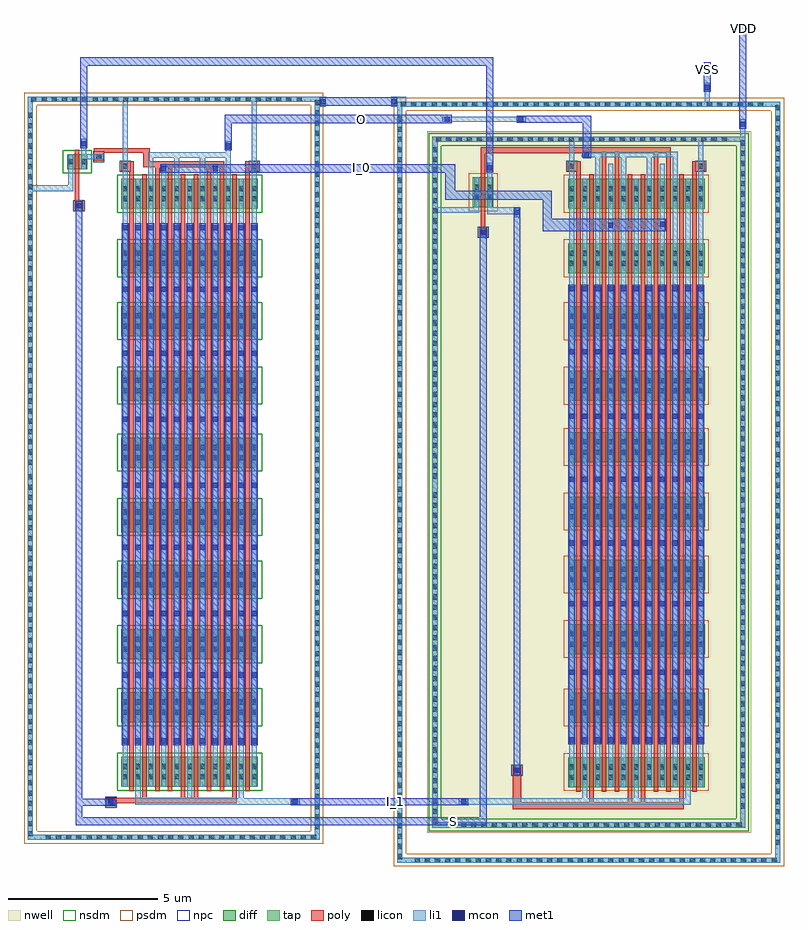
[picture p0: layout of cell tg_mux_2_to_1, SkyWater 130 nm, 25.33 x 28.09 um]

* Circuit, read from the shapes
.subckt tg_mux_2_to_1 I_0 I_1 O S VDD VSS
XM1 n1 S VSS VSS sky130_fd_pr__nfet_01v8 w=0.5 l=0.15
XM2 I_1 VSS VSS VSS sky130_fd_pr__nfet_01v8 w=1 l=0.15 m=20
XM3 O S I_1 VSS sky130_fd_pr__nfet_01v8 w=1 l=0.15 m=40
XM4 I_0 n1 O VSS sky130_fd_pr__nfet_01v8 w=1 l=0.15 m=40
XM5 n1 S VDD VDD sky130_fd_pr__pfet_01v8 w=1 l=0.15
XM6 I_1 VDD VDD VDD sky130_fd_pr__pfet_01v8 w=1 l=0.15 m=20
XM7 O n1 I_1 VDD sky130_fd_pr__pfet_01v8 w=1 l=0.15 m=40
XM8 I_0 S O VDD sky130_fd_pr__pfet_01v8 w=1 l=0.15 m=40
.ends

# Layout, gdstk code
from math import pi, radians
import gdstk
lib = gdstk.Library(unit=1e-6, precision=1e-09)
def R(c, l, rs):  # rectangles x0, y0, x1, y1
    for r in rs: c.add(gdstk.rectangle(r[:2], r[2:], *l))
def A(c, l, x, y, w, h, nx, ny, dx, dy):  # array of equal rectangles
    R(c, l, [(x+i*dx, y+j*dy, x+i*dx+w, y+j*dy+h) for i in range(nx) for j in range(ny)])
nwell = (64, 20)
diff = (65, 20)
tap = (65, 44)
poly = (66, 20)
licon = (66, 44)
li1 = (67, 20)
mcon = (67, 44)
met1 = (68, 20)
nsdm = (93, 44)
psdm = (94, 20)
npc = (95, 20)

nfet_01v8_cdns_774488796 = lib.new_cell('nfet_01v8_CDNS_7744887960911')
R(nfet_01v8_cdns_774488796, diff, [(-0.265,0,0,0.5), (0,0,0.15,0.5), (0.15,0,0.415,0.5)])
R(nfet_01v8_cdns_774488796, poly, [(0,-0.15,0.15,-0.095), (0,-0.095,0.15,0), (0,0,0.15,0.5), (0,0.5,0.15,0.595), (0,0.595,0.15,0.65)])
R(nfet_01v8_cdns_774488796, licon, [(-0.225,0.165,-0.055,0.335), (0.205,0.165,0.375,0.335)])
R(nfet_01v8_cdns_774488796, li1, [(-0.225,0,-0.055,0.5), (0.205,0,0.375,0.5)])
R(nfet_01v8_cdns_774488796, nsdm, [(-0.405,-0.13,0.555,0.63)])

pyl1con_c_cdns_774488796 = lib.new_cell('PYL1CON_C_CDNS_7744887960911')
R(pyl1con_c_cdns_774488796, poly, [(-0.135,-0.165,0.135,0.165)])
R(pyl1con_c_cdns_774488796, licon, [(-0.085,-0.085,0.085,0.085)])
R(pyl1con_c_cdns_774488796, npc, [(-0.185,-0.185,0.185,0.185)])

polyconn_cdns_7744887960 = lib.new_cell('polyConn_CDNS_774488796090')
R(polyconn_cdns_7744887960, poly, [(-0.135,-0.165,0.135,0.165)])
R(polyconn_cdns_7744887960, licon, [(-0.085,-0.085,0.085,0.085)])
R(polyconn_cdns_7744887960, li1, [(-0.085,-0.165,0.085,0.165)])
R(polyconn_cdns_7744887960, mcon, [(-0.085,-0.085,0.085,0.085)])
R(polyconn_cdns_7744887960, met1, [(-0.115,-0.145,0.115,0.145)])
R(polyconn_cdns_7744887960, npc, [(-0.185,-0.185,0.185,0.185)])

l1m1_c_cdns_774488796091 = lib.new_cell('L1M1_C_CDNS_7744887960914')
R(l1m1_c_cdns_774488796091, li1, [(-0.085,-0.165,0.085,0.165)])
R(l1m1_c_cdns_774488796091, mcon, [(-0.085,-0.085,0.085,0.085)])
R(l1m1_c_cdns_774488796091, met1, [(-0.115,-0.145,0.115,0.145)])

pfet_01v8_cdns_774488796 = lib.new_cell('pfet_01v8_CDNS_7744887960913')
R(pfet_01v8_cdns_774488796, nwell, [(-0.445,-0.18,0.595,1.18)])
R(pfet_01v8_cdns_774488796, diff, [(-0.265,0,0,1), (0,0,0.15,1), (0.15,0,0.415,1)])
R(pfet_01v8_cdns_774488796, poly, [(0,-0.15,0.15,-0.095), (0,-0.095,0.15,0), (0,0,0.15,1), (0,1,0.15,1.095), (0,1.095,0.15,1.15)])
R(pfet_01v8_cdns_774488796, licon, [(-0.225,0.245,-0.055,0.415), (0.205,0.245,0.375,0.415), (-0.225,0.585,-0.055,0.755), (0.205,0.585,0.375,0.755)])
R(pfet_01v8_cdns_774488796, li1, [(-0.225,0,-0.055,1), (0.205,0,0.375,1)])
R(pfet_01v8_cdns_774488796, psdm, [(-0.405,-0.13,0.555,1.13)])

c_pfet_01v8_cdns_774488796 = lib.new_cell('pfet_01v8_CDNS_7744887960912')
R(c_pfet_01v8_cdns_774488796, nwell, [(-0.445,-0.18,4.465,1.18)])
A(c_pfet_01v8_cdns_774488796, diff, 0, 0, 0.15, 1, 10, 1, 0.43, 0)
A(c_pfet_01v8_cdns_774488796, diff, 0.15, 0, 0.28, 1, 9, 1, 0.43, 0)
R(c_pfet_01v8_cdns_774488796, diff, [(-0.265,0,0,1), (4.02,0,4.285,1)])
A(c_pfet_01v8_cdns_774488796, poly, 0, -0.15, 0.15, 0.055, 10, 2, 0.43, 1.245)
A(c_pfet_01v8_cdns_774488796, poly, 0, -0.095, 0.15, 0.095, 10, 2, 0.43, 1.095)
A(c_pfet_01v8_cdns_774488796, poly, 0, 0, 0.15, 1, 10, 1, 0.43, 0)
A(c_pfet_01v8_cdns_774488796, licon, -0.225, 0.245, 0.17, 0.17, 11, 2, 0.43, 0.34)
A(c_pfet_01v8_cdns_774488796, li1, -0.225, 0, 0.17, 1, 11, 1, 0.43, 0)
R(c_pfet_01v8_cdns_774488796, psdm, [(-0.405,-0.13,4.425,1.13)])

c_nfet_01v8_cdns_774488796 = lib.new_cell('nfet_01v8_CDNS_7744887960910')
A(c_nfet_01v8_cdns_774488796, diff, 0, 0, 0.15, 1, 10, 1, 0.43, 0)
A(c_nfet_01v8_cdns_774488796, diff, 0.15, 0, 0.28, 1, 9, 1, 0.43, 0)
R(c_nfet_01v8_cdns_774488796, diff, [(-0.265,0,0,1), (4.02,0,4.285,1)])
A(c_nfet_01v8_cdns_774488796, poly, 0, -0.15, 0.15, 0.055, 10, 2, 0.43, 1.245)
A(c_nfet_01v8_cdns_774488796, poly, 0, -0.095, 0.15, 0.095, 10, 2, 0.43, 1.095)
A(c_nfet_01v8_cdns_774488796, poly, 0, 0, 0.15, 1, 10, 1, 0.43, 0)
A(c_nfet_01v8_cdns_774488796, licon, -0.225, 0.245, 0.17, 0.17, 11, 2, 0.43, 0.34)
A(c_nfet_01v8_cdns_774488796, li1, -0.225, 0, 0.17, 1, 11, 1, 0.43, 0)
R(c_nfet_01v8_cdns_774488796, nsdm, [(-0.405,-0.13,4.425,1.13)])

tg_mux_2_to_1 = lib.new_cell('tg_mux_2_to_1')
R(tg_mux_2_to_1, nwell, [(14.36,-24.075,25.145,-0.69)])
A(tg_mux_2_to_1, poly, 4.415, -22.68, 0.15, 20.56, 10, 1, 0.43, 0)
R(tg_mux_2_to_1, poly, [(17.205,-23.285,17.475,-21.825), (17.205,-23.285,22.9,-23.055), (21.03,-23.285,21.18,-2.12), (22.75,-23.285,22.9,-2.12), (21.46,-23.275,21.61,-2.12), (19.74,-23.27,19.89,-2.12), (3.64,-23.08,4.845,-22.9), (4.845,-23.08,8.005,-22.9), (6.135,-23.08,6.285,-22.68), (6.565,-23.08,6.715,-22.68), (7.855,-23.08,8.005,-22.68), (4.845,-22.9,4.995,-22.68), (19.31,-22.695,19.46,-1.69), (20.17,-22.695,20.32,-1.22), (20.6,-22.695,20.75,-1.22), (21.89,-22.695,22.04,-1.22), (22.32,-22.695,22.47,-1.22), (23.18,-22.695,23.33,-1.69), (8.285,-22.68,8.435,-22.66), (16.135,-4.21,16.285,-3.37), (2.605,-3.335,2.755,-2.105), (4.415,-2.12,4.565,-1.69), (5.275,-2.12,5.425,-1.685), (5.705,-2.12,5.855,-1.685), (6.995,-2.12,7.145,-1.685), (7.425,-2.12,7.575,-1.685), (8.285,-2.12,8.435,-1.685), (16.135,-2.075,16.285,-1.22), (4.14,-2.02,4.565,-1.69), (19.035,-2.02,19.46,-1.69), (23.18,-2.02,23.605,-1.69), (8.285,-2.015,8.71,-1.685), (4.88,-1.88,5.095,-1.25), (4.88,-1.88,5.425,-1.685), (5.275,-1.88,7.575,-1.685), (16.135,-1.425,22.47,-1.22), (3.23,-1.405,5.095,-1.25)])
A(tg_mux_2_to_1, licon, 13.925, -25.065, 0.17, 0.17, 36, 1, 0.34, 0)
A(tg_mux_2_to_1, licon, 13.35, -24.945, 0.17, 0.17, 1, 37, 0, 0.34)
A(tg_mux_2_to_1, licon, 25.945, -24.47, 0.17, 0.17, 1, 73, 0, 0.34)
A(tg_mux_2_to_1, licon, 1.63, -24.31, 0.17, 0.17, 27, 1, 0.34, 0)
A(tg_mux_2_to_1, licon, 1.03, -24.19, 0.17, 0.17, 1, 36, 0, 0.34)
A(tg_mux_2_to_1, licon, 10.59, -23.96, 0.17, 0.17, 1, 72, 0, 0.34)
A(tg_mux_2_to_1, licon, 15.135, -23.895, 0.17, 0.17, 29, 1, 0.34, 0)
A(tg_mux_2_to_1, licon, 14.52, -23.775, 0.17, 0.17, 1, 33, 0, 0.34)
A(tg_mux_2_to_1, licon, 24.775, -23.26, 0.17, 0.17, 1, 66, 0, 0.34)
A(tg_mux_2_to_1, licon, 13.35, -12.26, 0.17, 0.17, 1, 36, 0, 0.34)
A(tg_mux_2_to_1, licon, 14.52, -12.26, 0.17, 0.17, 1, 33, 0, 0.34)
A(tg_mux_2_to_1, licon, 1.03, -11.8, 0.17, 0.17, 1, 35, 0, 0.34)
A(tg_mux_2_to_1, licon, 14.64, -1.04, 0.17, 0.17, 29, 1, 0.34, 0)
A(tg_mux_2_to_1, licon, 13.47, 0.13, 0.17, 0.17, 36, 1, 0.34, 0)
A(tg_mux_2_to_1, licon, 1.15, 0.3, 0.17, 0.17, 27, 1, 0.34, 0)
A(tg_mux_2_to_1, li1, 4.62, -23.14, 0.17, 0.61, 3, 1, 1.72, 0)
A(tg_mux_2_to_1, li1, 19.515, -23.14, 0.17, 20.87, 3, 1, 1.72, 0)
A(tg_mux_2_to_1, li1, 19.945, -22.545, 0.17, 21.18, 4, 1, 0.86, 0)
A(tg_mux_2_to_1, li1, 4.62, -22.285, 0.17, 19.77, 10, 1, 0.43, 0)
A(tg_mux_2_to_1, li1, 5.05, -2.27, 0.17, 0.885, 4, 1, 0.86, 0)
R(tg_mux_2_to_1, li1, [(4.62,-23.14,10.105,-22.925), (15.4,-23.14,19.685,-22.925), (19.515,-23.14,23.125,-22.925), (19.085,-22.545,19.255,-0.87), (20.375,-22.545,20.545,-1.76), (22.095,-22.545,22.27,-1.76), (23.385,-22.545,23.555,-0.87), (4.19,-22.285,4.36,0.47), (16.34,-3.45,17.255,-3.22), (14.52,-3.4,16.08,-3.22), (1.03,-2.685,2.55,-2.48), (2.38,-2.685,2.55,-1.455), (5.48,-2.27,5.65,-1.76), (7.2,-2.27,7.37,-1.76), (8.49,-2.27,8.66,0.47), (16.34,-2.22,16.51,-2.065), (2.81,-1.625,3.56,-1.455), (5.05,-1.565,7.8,-1.385), (7.63,-1.565,7.8,-1.01), (19.505,-1.55,20.115,-1.365), (19.945,-1.55,22.695,-1.365), (2.81,-1.455,2.98,-1.265), (24.775,-0.9,24.945,-0.615), (14.855,-0.37,17.305,-0.2), (13.14,0.13,13.64,0.47), (23.595,0.13,23.765,0.61), (10.59,0.14,10.97,0.47), (10.59,0.175,10.76,0.47)])
A(tg_mux_2_to_1, met1, 4.16, -21.155, 0.23, 17.4, 11, 1, 0.43, 0)
A(tg_mux_2_to_1, met1, 19.055, -21.12, 0.23, 15.325, 11, 1, 0.43, 0)
R(tg_mux_2_to_1, met1, [(2.625,-23.81,16.29,-23.555), (16.1,-23.81,16.33,-3.9), (2.625,-23.555,2.855,-3.025), (2.625,-23.16,3.95,-22.93), (9.795,-23.145,15.71,-22.915), (17.225,-22.155,17.455,-3.24), (18.2,-4.02,18.49,-2.665), (18.49,-4.02,22.295,-3.6), (14.945,-2.965,18.49,-2.665), (14.945,-2.665,15.275,-1.78), (5.45,-2.07,15.275,-1.78), (16.31,-1.755,16.54,1.785), (19.525,-1.58,19.815,-0.17), (7.6,-1.32,7.83,-0.13), (2.78,-1.245,3.01,1.505), (24.745,-0.595,24.975,2.905), (7.6,-0.425,15.165,-0.13), (17.325,-0.405,19.815,-0.17), (10.77,0.16,13.34,0.45), (23.565,0.63,23.795,1.615), (2.78,1.505,16.54,1.785)])
tg_mux_2_to_1.add(gdstk.FlexPath([(1.115,-11.92),(1.115,0.385),(10.675,0.385),(10.675,-24.225),(1.115,-24.225),(1.115,-11.92)], 0.17, ends="flush", simple_path=True, layer=67, datatype=20))  # li1
tg_mux_2_to_1.add(gdstk.FlexPath([(14.605,-12.38),(14.605,-0.955),(24.86,-0.955),(24.86,-23.81),(14.605,-23.81),(14.605,-12.38)], 0.17, ends="flush", simple_path=True, layer=67, datatype=20))  # li1
tg_mux_2_to_1.add(gdstk.FlexPath([(13.435,-12.38),(13.435,0.215),(26.03,0.215),(26.03,-24.98),(13.435,-24.98),(13.435,-12.38)], 0.17, ends="flush", simple_path=True, layer=67, datatype=20))  # li1
tg_mux_2_to_1.add(gdstk.FlexPath([(14.605,-12.38),(14.605,-0.955),(24.86,-0.955),(24.86,-23.81),(14.605,-23.81),(14.605,-12.38)], 0.42, ends="flush", simple_path=True, layer=93, datatype=44))  # nsdm
tg_mux_2_to_1.add(gdstk.FlexPath([(1.115,-11.92),(1.115,0.385),(10.675,0.385),(10.675,-24.225),(1.115,-24.225),(1.115,-11.92)], 0.17, ends="flush", simple_path=True, layer=65, datatype=44))  # tap
tg_mux_2_to_1.add(gdstk.FlexPath([(14.605,-12.38),(14.605,-0.955),(24.86,-0.955),(24.86,-23.81),(14.605,-23.81),(14.605,-12.38)], 0.17, ends="flush", simple_path=True, layer=65, datatype=44))  # tap
tg_mux_2_to_1.add(gdstk.FlexPath([(13.435,-12.38),(13.435,0.215),(26.03,0.215),(26.03,-24.98),(13.435,-24.98),(13.435,-12.38)], 0.17, ends="flush", simple_path=True, layer=65, datatype=44))  # tap
tg_mux_2_to_1.add(gdstk.FlexPath([(1.115,-11.92),(1.115,0.385),(10.675,0.385),(10.675,-24.225),(1.115,-24.225),(1.115,-11.92)], 0.42, ends="flush", simple_path=True, layer=94, datatype=20))  # psdm
tg_mux_2_to_1.add(gdstk.FlexPath([(13.435,-12.38),(13.435,0.215),(26.03,0.215),(26.03,-24.98),(13.435,-24.98),(13.435,-12.38)], 0.42, ends="flush", simple_path=True, layer=94, datatype=20))  # psdm
tg_mux_2_to_1.add(gdstk.FlexPath([(14.605,-12.38),(14.605,-0.955),(24.86,-0.955),(24.86,-23.81),(14.605,-23.81),(14.605,-12.38)], 0.53, ends="flush", simple_path=True, layer=64, datatype=20))  # nwell
tg_mux_2_to_1.add(gdstk.Reference(nfet_01v8_cdns_774488796, (2.605,-1.955)))
tg_mux_2_to_1.add(gdstk.Reference(pyl1con_c_cdns_774488796, (3.395,-1.54), rotation=pi/2))
tg_mux_2_to_1.add(gdstk.Reference(polyconn_cdns_7744887960, (17.34,-21.99)))
tg_mux_2_to_1.add(gdstk.Reference(polyconn_cdns_7744887960, (16.215,-4.045)))
tg_mux_2_to_1.add(gdstk.Reference(polyconn_cdns_7744887960, (2.74,-3.17)))
tg_mux_2_to_1.add(gdstk.Reference(l1m1_c_cdns_774488796091, (4.275,-21.01)))
tg_mux_2_to_1.add(gdstk.Reference(l1m1_c_cdns_774488796091, (4.705,-21.01)))
tg_mux_2_to_1.add(gdstk.Reference(l1m1_c_cdns_774488796091, (5.135,-21.01)))
tg_mux_2_to_1.add(gdstk.Reference(l1m1_c_cdns_774488796091, (5.565,-21.01)))
tg_mux_2_to_1.add(gdstk.Reference(l1m1_c_cdns_774488796091, (5.995,-21.01)))
tg_mux_2_to_1.add(gdstk.Reference(l1m1_c_cdns_774488796091, (6.425,-21.01)))
tg_mux_2_to_1.add(gdstk.Reference(l1m1_c_cdns_774488796091, (6.855,-21.01)))
tg_mux_2_to_1.add(gdstk.Reference(l1m1_c_cdns_774488796091, (7.285,-21.01)))
tg_mux_2_to_1.add(gdstk.Reference(l1m1_c_cdns_774488796091, (7.715,-21.01)))
tg_mux_2_to_1.add(gdstk.Reference(l1m1_c_cdns_774488796091, (8.145,-21.01)))
tg_mux_2_to_1.add(gdstk.Reference(l1m1_c_cdns_774488796091, (8.575,-21.01)))
tg_mux_2_to_1.add(gdstk.Reference(l1m1_c_cdns_774488796091, (19.17,-20.975)))
tg_mux_2_to_1.add(gdstk.Reference(l1m1_c_cdns_774488796091, (19.6,-20.975)))
tg_mux_2_to_1.add(gdstk.Reference(l1m1_c_cdns_774488796091, (20.03,-20.975)))
tg_mux_2_to_1.add(gdstk.Reference(l1m1_c_cdns_774488796091, (20.46,-20.975)))
tg_mux_2_to_1.add(gdstk.Reference(l1m1_c_cdns_774488796091, (20.89,-20.975)))
tg_mux_2_to_1.add(gdstk.Reference(l1m1_c_cdns_774488796091, (21.32,-20.975)))
tg_mux_2_to_1.add(gdstk.Reference(l1m1_c_cdns_774488796091, (21.75,-20.975)))
tg_mux_2_to_1.add(gdstk.Reference(l1m1_c_cdns_774488796091, (22.18,-20.975)))
tg_mux_2_to_1.add(gdstk.Reference(l1m1_c_cdns_774488796091, (22.61,-20.975)))
tg_mux_2_to_1.add(gdstk.Reference(l1m1_c_cdns_774488796091, (23.04,-20.975)))
tg_mux_2_to_1.add(gdstk.Reference(l1m1_c_cdns_774488796091, (23.47,-20.975)))
tg_mux_2_to_1.add(gdstk.Reference(l1m1_c_cdns_774488796091, (4.275,-18.81)))
tg_mux_2_to_1.add(gdstk.Reference(l1m1_c_cdns_774488796091, (4.705,-18.81)))
tg_mux_2_to_1.add(gdstk.Reference(l1m1_c_cdns_774488796091, (5.135,-18.81)))
tg_mux_2_to_1.add(gdstk.Reference(l1m1_c_cdns_774488796091, (5.565,-18.81)))
tg_mux_2_to_1.add(gdstk.Reference(l1m1_c_cdns_774488796091, (5.995,-18.81)))
tg_mux_2_to_1.add(gdstk.Reference(l1m1_c_cdns_774488796091, (6.425,-18.81)))
tg_mux_2_to_1.add(gdstk.Reference(l1m1_c_cdns_774488796091, (6.855,-18.81)))
tg_mux_2_to_1.add(gdstk.Reference(l1m1_c_cdns_774488796091, (7.285,-18.81)))
tg_mux_2_to_1.add(gdstk.Reference(l1m1_c_cdns_774488796091, (7.715,-18.81)))
tg_mux_2_to_1.add(gdstk.Reference(l1m1_c_cdns_774488796091, (8.145,-18.81)))
tg_mux_2_to_1.add(gdstk.Reference(l1m1_c_cdns_774488796091, (8.575,-18.81)))
tg_mux_2_to_1.add(gdstk.Reference(l1m1_c_cdns_774488796091, (19.17,-18.72)))
tg_mux_2_to_1.add(gdstk.Reference(l1m1_c_cdns_774488796091, (19.6,-18.72)))
tg_mux_2_to_1.add(gdstk.Reference(l1m1_c_cdns_774488796091, (20.03,-18.72)))
tg_mux_2_to_1.add(gdstk.Reference(l1m1_c_cdns_774488796091, (20.46,-18.72)))
tg_mux_2_to_1.add(gdstk.Reference(l1m1_c_cdns_774488796091, (20.89,-18.72)))
tg_mux_2_to_1.add(gdstk.Reference(l1m1_c_cdns_774488796091, (21.32,-18.72)))
tg_mux_2_to_1.add(gdstk.Reference(l1m1_c_cdns_774488796091, (21.75,-18.72)))
tg_mux_2_to_1.add(gdstk.Reference(l1m1_c_cdns_774488796091, (22.18,-18.72)))
tg_mux_2_to_1.add(gdstk.Reference(l1m1_c_cdns_774488796091, (22.61,-18.72)))
tg_mux_2_to_1.add(gdstk.Reference(l1m1_c_cdns_774488796091, (23.04,-18.72)))
tg_mux_2_to_1.add(gdstk.Reference(l1m1_c_cdns_774488796091, (23.47,-18.72)))
tg_mux_2_to_1.add(gdstk.Reference(l1m1_c_cdns_774488796091, (4.275,-16.76)))
tg_mux_2_to_1.add(gdstk.Reference(l1m1_c_cdns_774488796091, (4.705,-16.76)))
tg_mux_2_to_1.add(gdstk.Reference(l1m1_c_cdns_774488796091, (5.135,-16.76)))
tg_mux_2_to_1.add(gdstk.Reference(l1m1_c_cdns_774488796091, (5.565,-16.76)))
tg_mux_2_to_1.add(gdstk.Reference(l1m1_c_cdns_774488796091, (5.995,-16.76)))
tg_mux_2_to_1.add(gdstk.Reference(l1m1_c_cdns_774488796091, (6.425,-16.76)))
tg_mux_2_to_1.add(gdstk.Reference(l1m1_c_cdns_774488796091, (6.855,-16.76)))
tg_mux_2_to_1.add(gdstk.Reference(l1m1_c_cdns_774488796091, (7.285,-16.76)))
tg_mux_2_to_1.add(gdstk.Reference(l1m1_c_cdns_774488796091, (7.715,-16.76)))
tg_mux_2_to_1.add(gdstk.Reference(l1m1_c_cdns_774488796091, (8.145,-16.76)))
tg_mux_2_to_1.add(gdstk.Reference(l1m1_c_cdns_774488796091, (8.575,-16.76)))
tg_mux_2_to_1.add(gdstk.Reference(l1m1_c_cdns_774488796091, (19.17,-16.44)))
tg_mux_2_to_1.add(gdstk.Reference(l1m1_c_cdns_774488796091, (19.6,-16.44)))
tg_mux_2_to_1.add(gdstk.Reference(l1m1_c_cdns_774488796091, (20.03,-16.44)))
tg_mux_2_to_1.add(gdstk.Reference(l1m1_c_cdns_774488796091, (20.46,-16.44)))
tg_mux_2_to_1.add(gdstk.Reference(l1m1_c_cdns_774488796091, (20.89,-16.44)))
tg_mux_2_to_1.add(gdstk.Reference(l1m1_c_cdns_774488796091, (21.32,-16.44)))
tg_mux_2_to_1.add(gdstk.Reference(l1m1_c_cdns_774488796091, (21.75,-16.44)))
tg_mux_2_to_1.add(gdstk.Reference(l1m1_c_cdns_774488796091, (22.18,-16.44)))
tg_mux_2_to_1.add(gdstk.Reference(l1m1_c_cdns_774488796091, (22.61,-16.44)))
tg_mux_2_to_1.add(gdstk.Reference(l1m1_c_cdns_774488796091, (23.04,-16.44)))
tg_mux_2_to_1.add(gdstk.Reference(l1m1_c_cdns_774488796091, (23.47,-16.44)))
tg_mux_2_to_1.add(gdstk.Reference(l1m1_c_cdns_774488796091, (4.275,-14.555)))
tg_mux_2_to_1.add(gdstk.Reference(l1m1_c_cdns_774488796091, (4.705,-14.555)))
tg_mux_2_to_1.add(gdstk.Reference(l1m1_c_cdns_774488796091, (5.135,-14.555)))
tg_mux_2_to_1.add(gdstk.Reference(l1m1_c_cdns_774488796091, (5.565,-14.555)))
tg_mux_2_to_1.add(gdstk.Reference(l1m1_c_cdns_774488796091, (5.995,-14.555)))
tg_mux_2_to_1.add(gdstk.Reference(l1m1_c_cdns_774488796091, (6.425,-14.555)))
tg_mux_2_to_1.add(gdstk.Reference(l1m1_c_cdns_774488796091, (6.855,-14.555)))
tg_mux_2_to_1.add(gdstk.Reference(l1m1_c_cdns_774488796091, (7.285,-14.555)))
tg_mux_2_to_1.add(gdstk.Reference(l1m1_c_cdns_774488796091, (7.715,-14.555)))
tg_mux_2_to_1.add(gdstk.Reference(l1m1_c_cdns_774488796091, (8.145,-14.555)))
tg_mux_2_to_1.add(gdstk.Reference(l1m1_c_cdns_774488796091, (8.575,-14.555)))
tg_mux_2_to_1.add(gdstk.Reference(l1m1_c_cdns_774488796091, (19.17,-14.41)))
tg_mux_2_to_1.add(gdstk.Reference(l1m1_c_cdns_774488796091, (19.6,-14.41)))
tg_mux_2_to_1.add(gdstk.Reference(l1m1_c_cdns_774488796091, (20.03,-14.41)))
tg_mux_2_to_1.add(gdstk.Reference(l1m1_c_cdns_774488796091, (20.46,-14.41)))
tg_mux_2_to_1.add(gdstk.Reference(l1m1_c_cdns_774488796091, (20.89,-14.41)))
tg_mux_2_to_1.add(gdstk.Reference(l1m1_c_cdns_774488796091, (21.32,-14.41)))
tg_mux_2_to_1.add(gdstk.Reference(l1m1_c_cdns_774488796091, (21.75,-14.41)))
tg_mux_2_to_1.add(gdstk.Reference(l1m1_c_cdns_774488796091, (22.18,-14.41)))
tg_mux_2_to_1.add(gdstk.Reference(l1m1_c_cdns_774488796091, (22.61,-14.41)))
tg_mux_2_to_1.add(gdstk.Reference(l1m1_c_cdns_774488796091, (23.04,-14.41)))
tg_mux_2_to_1.add(gdstk.Reference(l1m1_c_cdns_774488796091, (23.47,-14.41)))
tg_mux_2_to_1.add(gdstk.Reference(l1m1_c_cdns_774488796091, (4.275,-12.48)))
tg_mux_2_to_1.add(gdstk.Reference(l1m1_c_cdns_774488796091, (4.705,-12.48)))
tg_mux_2_to_1.add(gdstk.Reference(l1m1_c_cdns_774488796091, (5.135,-12.48)))
tg_mux_2_to_1.add(gdstk.Reference(l1m1_c_cdns_774488796091, (5.565,-12.48)))
tg_mux_2_to_1.add(gdstk.Reference(l1m1_c_cdns_774488796091, (5.995,-12.48)))
tg_mux_2_to_1.add(gdstk.Reference(l1m1_c_cdns_774488796091, (6.425,-12.48)))
tg_mux_2_to_1.add(gdstk.Reference(l1m1_c_cdns_774488796091, (6.855,-12.48)))
tg_mux_2_to_1.add(gdstk.Reference(l1m1_c_cdns_774488796091, (7.285,-12.48)))
tg_mux_2_to_1.add(gdstk.Reference(l1m1_c_cdns_774488796091, (7.715,-12.48)))
tg_mux_2_to_1.add(gdstk.Reference(l1m1_c_cdns_774488796091, (8.145,-12.48)))
tg_mux_2_to_1.add(gdstk.Reference(l1m1_c_cdns_774488796091, (8.575,-12.48)))
tg_mux_2_to_1.add(gdstk.Reference(l1m1_c_cdns_774488796091, (19.17,-12.285)))
tg_mux_2_to_1.add(gdstk.Reference(l1m1_c_cdns_774488796091, (19.6,-12.285)))
tg_mux_2_to_1.add(gdstk.Reference(l1m1_c_cdns_774488796091, (20.03,-12.285)))
tg_mux_2_to_1.add(gdstk.Reference(l1m1_c_cdns_774488796091, (20.46,-12.285)))
tg_mux_2_to_1.add(gdstk.Reference(l1m1_c_cdns_774488796091, (20.89,-12.285)))
tg_mux_2_to_1.add(gdstk.Reference(l1m1_c_cdns_774488796091, (21.32,-12.285)))
tg_mux_2_to_1.add(gdstk.Reference(l1m1_c_cdns_774488796091, (21.75,-12.285)))
tg_mux_2_to_1.add(gdstk.Reference(l1m1_c_cdns_774488796091, (22.18,-12.285)))
tg_mux_2_to_1.add(gdstk.Reference(l1m1_c_cdns_774488796091, (22.61,-12.285)))
tg_mux_2_to_1.add(gdstk.Reference(l1m1_c_cdns_774488796091, (23.04,-12.285)))
tg_mux_2_to_1.add(gdstk.Reference(l1m1_c_cdns_774488796091, (23.47,-12.285)))
tg_mux_2_to_1.add(gdstk.Reference(l1m1_c_cdns_774488796091, (4.275,-10.29)))
tg_mux_2_to_1.add(gdstk.Reference(l1m1_c_cdns_774488796091, (4.705,-10.29)))
tg_mux_2_to_1.add(gdstk.Reference(l1m1_c_cdns_774488796091, (5.135,-10.29)))
tg_mux_2_to_1.add(gdstk.Reference(l1m1_c_cdns_774488796091, (5.565,-10.29)))
tg_mux_2_to_1.add(gdstk.Reference(l1m1_c_cdns_774488796091, (5.995,-10.29)))
tg_mux_2_to_1.add(gdstk.Reference(l1m1_c_cdns_774488796091, (6.425,-10.29)))
tg_mux_2_to_1.add(gdstk.Reference(l1m1_c_cdns_774488796091, (6.855,-10.29)))
tg_mux_2_to_1.add(gdstk.Reference(l1m1_c_cdns_774488796091, (7.285,-10.29)))
tg_mux_2_to_1.add(gdstk.Reference(l1m1_c_cdns_774488796091, (7.715,-10.29)))
tg_mux_2_to_1.add(gdstk.Reference(l1m1_c_cdns_774488796091, (8.145,-10.29)))
tg_mux_2_to_1.add(gdstk.Reference(l1m1_c_cdns_774488796091, (8.575,-10.29)))
tg_mux_2_to_1.add(gdstk.Reference(l1m1_c_cdns_774488796091, (19.17,-10.19)))
tg_mux_2_to_1.add(gdstk.Reference(l1m1_c_cdns_774488796091, (19.6,-10.19)))
tg_mux_2_to_1.add(gdstk.Reference(l1m1_c_cdns_774488796091, (20.03,-10.19)))
tg_mux_2_to_1.add(gdstk.Reference(l1m1_c_cdns_774488796091, (20.46,-10.19)))
tg_mux_2_to_1.add(gdstk.Reference(l1m1_c_cdns_774488796091, (20.89,-10.19)))
tg_mux_2_to_1.add(gdstk.Reference(l1m1_c_cdns_774488796091, (21.32,-10.19)))
tg_mux_2_to_1.add(gdstk.Reference(l1m1_c_cdns_774488796091, (21.75,-10.19)))
tg_mux_2_to_1.add(gdstk.Reference(l1m1_c_cdns_774488796091, (22.18,-10.19)))
tg_mux_2_to_1.add(gdstk.Reference(l1m1_c_cdns_774488796091, (22.61,-10.19)))
tg_mux_2_to_1.add(gdstk.Reference(l1m1_c_cdns_774488796091, (23.04,-10.19)))
tg_mux_2_to_1.add(gdstk.Reference(l1m1_c_cdns_774488796091, (23.47,-10.19)))
tg_mux_2_to_1.add(gdstk.Reference(l1m1_c_cdns_774488796091, (4.275,-8.09)))
tg_mux_2_to_1.add(gdstk.Reference(l1m1_c_cdns_774488796091, (4.705,-8.09)))
tg_mux_2_to_1.add(gdstk.Reference(l1m1_c_cdns_774488796091, (5.135,-8.09)))
tg_mux_2_to_1.add(gdstk.Reference(l1m1_c_cdns_774488796091, (5.565,-8.09)))
tg_mux_2_to_1.add(gdstk.Reference(l1m1_c_cdns_774488796091, (5.995,-8.09)))
tg_mux_2_to_1.add(gdstk.Reference(l1m1_c_cdns_774488796091, (6.425,-8.09)))
tg_mux_2_to_1.add(gdstk.Reference(l1m1_c_cdns_774488796091, (6.855,-8.09)))
tg_mux_2_to_1.add(gdstk.Reference(l1m1_c_cdns_774488796091, (7.285,-8.09)))
tg_mux_2_to_1.add(gdstk.Reference(l1m1_c_cdns_774488796091, (7.715,-8.09)))
tg_mux_2_to_1.add(gdstk.Reference(l1m1_c_cdns_774488796091, (8.145,-8.09)))
tg_mux_2_to_1.add(gdstk.Reference(l1m1_c_cdns_774488796091, (8.575,-8.09)))
tg_mux_2_to_1.add(gdstk.Reference(l1m1_c_cdns_774488796091, (19.17,-8.04)))
tg_mux_2_to_1.add(gdstk.Reference(l1m1_c_cdns_774488796091, (19.6,-8.04)))
tg_mux_2_to_1.add(gdstk.Reference(l1m1_c_cdns_774488796091, (20.03,-8.04)))
tg_mux_2_to_1.add(gdstk.Reference(l1m1_c_cdns_774488796091, (20.46,-8.04)))
tg_mux_2_to_1.add(gdstk.Reference(l1m1_c_cdns_774488796091, (20.89,-8.04)))
tg_mux_2_to_1.add(gdstk.Reference(l1m1_c_cdns_774488796091, (21.32,-8.04)))
tg_mux_2_to_1.add(gdstk.Reference(l1m1_c_cdns_774488796091, (21.75,-8.04)))
tg_mux_2_to_1.add(gdstk.Reference(l1m1_c_cdns_774488796091, (22.18,-8.04)))
tg_mux_2_to_1.add(gdstk.Reference(l1m1_c_cdns_774488796091, (22.61,-8.04)))
tg_mux_2_to_1.add(gdstk.Reference(l1m1_c_cdns_774488796091, (23.04,-8.04)))
tg_mux_2_to_1.add(gdstk.Reference(l1m1_c_cdns_774488796091, (23.47,-8.04)))
tg_mux_2_to_1.add(gdstk.Reference(l1m1_c_cdns_774488796091, (4.275,-5.945)))
tg_mux_2_to_1.add(gdstk.Reference(l1m1_c_cdns_774488796091, (4.705,-5.945)))
tg_mux_2_to_1.add(gdstk.Reference(l1m1_c_cdns_774488796091, (5.135,-5.945)))
tg_mux_2_to_1.add(gdstk.Reference(l1m1_c_cdns_774488796091, (5.565,-5.945)))
tg_mux_2_to_1.add(gdstk.Reference(l1m1_c_cdns_774488796091, (5.995,-5.945)))
tg_mux_2_to_1.add(gdstk.Reference(l1m1_c_cdns_774488796091, (6.425,-5.945)))
tg_mux_2_to_1.add(gdstk.Reference(l1m1_c_cdns_774488796091, (6.855,-5.945)))
tg_mux_2_to_1.add(gdstk.Reference(l1m1_c_cdns_774488796091, (7.285,-5.945)))
tg_mux_2_to_1.add(gdstk.Reference(l1m1_c_cdns_774488796091, (7.715,-5.945)))
tg_mux_2_to_1.add(gdstk.Reference(l1m1_c_cdns_774488796091, (8.145,-5.945)))
tg_mux_2_to_1.add(gdstk.Reference(l1m1_c_cdns_774488796091, (8.575,-5.945)))
tg_mux_2_to_1.add(gdstk.Reference(l1m1_c_cdns_774488796091, (19.17,-5.94)))
tg_mux_2_to_1.add(gdstk.Reference(l1m1_c_cdns_774488796091, (19.6,-5.94)))
tg_mux_2_to_1.add(gdstk.Reference(l1m1_c_cdns_774488796091, (20.03,-5.94)))
tg_mux_2_to_1.add(gdstk.Reference(l1m1_c_cdns_774488796091, (20.46,-5.94)))
tg_mux_2_to_1.add(gdstk.Reference(l1m1_c_cdns_774488796091, (20.89,-5.94)))
tg_mux_2_to_1.add(gdstk.Reference(l1m1_c_cdns_774488796091, (21.32,-5.94)))
tg_mux_2_to_1.add(gdstk.Reference(l1m1_c_cdns_774488796091, (21.75,-5.94)))
tg_mux_2_to_1.add(gdstk.Reference(l1m1_c_cdns_774488796091, (22.18,-5.94)))
tg_mux_2_to_1.add(gdstk.Reference(l1m1_c_cdns_774488796091, (22.61,-5.94)))
tg_mux_2_to_1.add(gdstk.Reference(l1m1_c_cdns_774488796091, (23.04,-5.94)))
tg_mux_2_to_1.add(gdstk.Reference(l1m1_c_cdns_774488796091, (23.47,-5.94)))
tg_mux_2_to_1.add(gdstk.Reference(l1m1_c_cdns_774488796091, (4.275,-3.9)))
tg_mux_2_to_1.add(gdstk.Reference(l1m1_c_cdns_774488796091, (4.705,-3.9)))
tg_mux_2_to_1.add(gdstk.Reference(l1m1_c_cdns_774488796091, (5.135,-3.9)))
tg_mux_2_to_1.add(gdstk.Reference(l1m1_c_cdns_774488796091, (5.565,-3.9)))
tg_mux_2_to_1.add(gdstk.Reference(l1m1_c_cdns_774488796091, (5.995,-3.9)))
tg_mux_2_to_1.add(gdstk.Reference(l1m1_c_cdns_774488796091, (6.425,-3.9)))
tg_mux_2_to_1.add(gdstk.Reference(l1m1_c_cdns_774488796091, (6.855,-3.9)))
tg_mux_2_to_1.add(gdstk.Reference(l1m1_c_cdns_774488796091, (7.285,-3.9)))
tg_mux_2_to_1.add(gdstk.Reference(l1m1_c_cdns_774488796091, (7.715,-3.9)))
tg_mux_2_to_1.add(gdstk.Reference(l1m1_c_cdns_774488796091, (8.145,-3.9)))
tg_mux_2_to_1.add(gdstk.Reference(l1m1_c_cdns_774488796091, (8.575,-3.9)))
tg_mux_2_to_1.add(gdstk.Reference(l1m1_c_cdns_774488796091, (20.46,-3.82)))
tg_mux_2_to_1.add(gdstk.Reference(l1m1_c_cdns_774488796091, (22.18,-3.78)))
tg_mux_2_to_1.add(gdstk.Reference(l1m1_c_cdns_774488796091, (17.34,-3.385)))
tg_mux_2_to_1.add(gdstk.Reference(l1m1_c_cdns_774488796091, (5.565,-1.925)))
tg_mux_2_to_1.add(gdstk.Reference(l1m1_c_cdns_774488796091, (7.285,-1.925)))
tg_mux_2_to_1.add(gdstk.Reference(l1m1_c_cdns_774488796091, (16.425,-1.9)))
tg_mux_2_to_1.add(gdstk.Reference(l1m1_c_cdns_774488796091, (7.715,-1.175)))
tg_mux_2_to_1.add(gdstk.Reference(l1m1_c_cdns_774488796091, (2.895,-1.1)))
tg_mux_2_to_1.add(gdstk.Reference(l1m1_c_cdns_774488796091, (24.86,-0.45)))
tg_mux_2_to_1.add(gdstk.Reference(l1m1_c_cdns_774488796091, (10.885,0.305)))
tg_mux_2_to_1.add(gdstk.Reference(l1m1_c_cdns_774488796091, (13.225,0.305)))
tg_mux_2_to_1.add(gdstk.Reference(l1m1_c_cdns_774488796091, (23.68,0.775)))
tg_mux_2_to_1.add(gdstk.Reference(pfet_01v8_cdns_774488796, (16.135,-3.22)))
tg_mux_2_to_1.add(gdstk.Reference(pyl1con_c_cdns_774488796, (4.275,-1.855)))
tg_mux_2_to_1.add(gdstk.Reference(pyl1con_c_cdns_774488796, (19.17,-1.855)))
tg_mux_2_to_1.add(gdstk.Reference(pyl1con_c_cdns_774488796, (23.47,-1.855)))
tg_mux_2_to_1.add(gdstk.Reference(pyl1con_c_cdns_774488796, (8.575,-1.85)))
tg_mux_2_to_1.add(gdstk.Reference(c_pfet_01v8_cdns_774488796, (19.31,-22.545)))
tg_mux_2_to_1.add(gdstk.Reference(c_pfet_01v8_cdns_774488796, (19.31,-20.395)))
tg_mux_2_to_1.add(gdstk.Reference(c_pfet_01v8_cdns_774488796, (19.31,-18.11)))
tg_mux_2_to_1.add(gdstk.Reference(c_pfet_01v8_cdns_774488796, (19.31,-15.96)))
tg_mux_2_to_1.add(gdstk.Reference(c_pfet_01v8_cdns_774488796, (19.31,-13.86)))
tg_mux_2_to_1.add(gdstk.Reference(c_pfet_01v8_cdns_774488796, (19.31,-11.71)))
tg_mux_2_to_1.add(gdstk.Reference(c_pfet_01v8_cdns_774488796, (19.31,-9.67)))
tg_mux_2_to_1.add(gdstk.Reference(c_pfet_01v8_cdns_774488796, (19.31,-7.52)))
tg_mux_2_to_1.add(gdstk.Reference(c_pfet_01v8_cdns_774488796, (19.31,-5.42)))
tg_mux_2_to_1.add(gdstk.Reference(c_pfet_01v8_cdns_774488796, (19.31,-3.27)))
tg_mux_2_to_1.add(gdstk.Reference(polyconn_cdns_7744887960, (3.805,-23.045), rotation=pi/2))
tg_mux_2_to_1.add(gdstk.Reference(l1m1_c_cdns_774488796091, (9.94,-23.03), rotation=pi/2))
tg_mux_2_to_1.add(gdstk.Reference(l1m1_c_cdns_774488796091, (15.565,-23.03), rotation=pi/2))
tg_mux_2_to_1.add(gdstk.Reference(l1m1_c_cdns_774488796091, (19.67,-1.465), rotation=pi/2))
tg_mux_2_to_1.add(gdstk.Reference(l1m1_c_cdns_774488796091, (15.02,-0.285), rotation=pi/2))
tg_mux_2_to_1.add(gdstk.Reference(l1m1_c_cdns_774488796091, (17.47,-0.285), rotation=pi/2))
tg_mux_2_to_1.add(gdstk.Reference(c_nfet_01v8_cdns_774488796, (4.415,-22.53)))
tg_mux_2_to_1.add(gdstk.Reference(c_nfet_01v8_cdns_774488796, (4.415,-20.38)))
tg_mux_2_to_1.add(gdstk.Reference(c_nfet_01v8_cdns_774488796, (4.415,-18.285)))
tg_mux_2_to_1.add(gdstk.Reference(c_nfet_01v8_cdns_774488796, (4.415,-16.135)))
tg_mux_2_to_1.add(gdstk.Reference(c_nfet_01v8_cdns_774488796, (4.415,-14.045)))
tg_mux_2_to_1.add(gdstk.Reference(c_nfet_01v8_cdns_774488796, (4.415,-11.895)))
tg_mux_2_to_1.add(gdstk.Reference(c_nfet_01v8_cdns_774488796, (4.415,-9.66)))
tg_mux_2_to_1.add(gdstk.Reference(c_nfet_01v8_cdns_774488796, (4.415,-7.51)))
tg_mux_2_to_1.add(gdstk.Reference(c_nfet_01v8_cdns_774488796, (4.415,-5.42)))
tg_mux_2_to_1.add(gdstk.Reference(c_nfet_01v8_cdns_774488796, (4.415,-3.27)))
tg_mux_2_to_1.add(gdstk.Label('I_1', (13.295,-23.035), layer=68, texttype=5))
tg_mux_2_to_1.add(gdstk.Label('VSS', (23.68,1.38), layer=68, texttype=5))
tg_mux_2_to_1.add(gdstk.Label('O', (12.15,-0.305), layer=68, texttype=5))
tg_mux_2_to_1.add(gdstk.Label('S', (15.215,-23.69), layer=68, texttype=5))
tg_mux_2_to_1.add(gdstk.Label('I_0', (12.14,-1.905), layer=68, texttype=5))
tg_mux_2_to_1.add(gdstk.Label('VDD', (24.895,2.755), layer=68, texttype=5))

lib.write_gds('tg_mux_2_to_1.gds')
